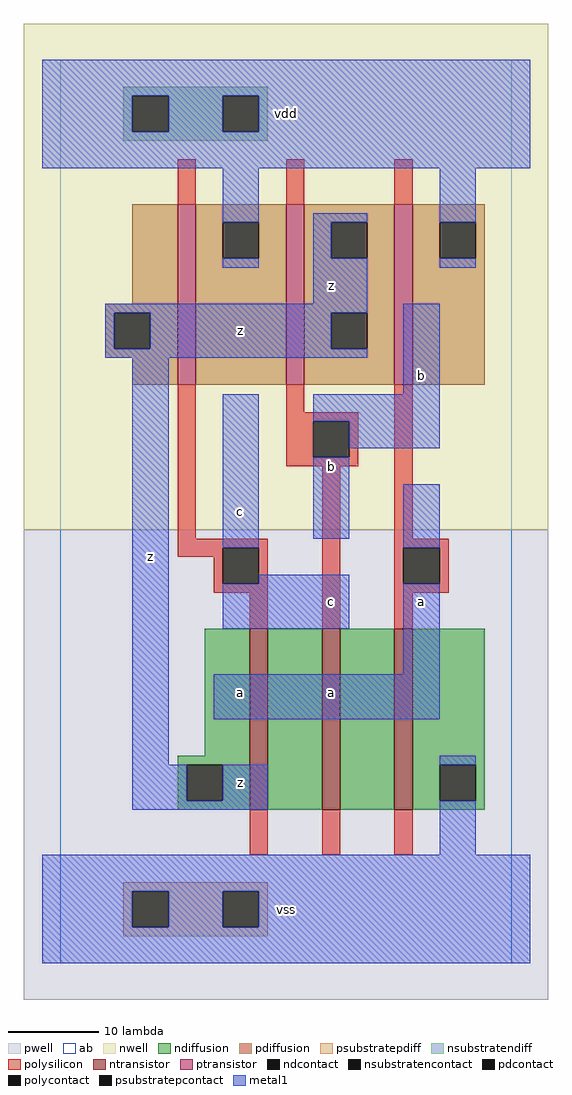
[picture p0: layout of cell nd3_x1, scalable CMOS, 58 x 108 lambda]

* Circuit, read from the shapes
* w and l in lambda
.subckt nd3_x1 a b c vdd vss z
M1 n1 c z vss nfet w=20 l=2
M2 n2 b n1 vss nfet w=20 l=2
M3 vss a n2 vss nfet w=20 l=2
M4 vdd c z vdd pfet w=20 l=2
M5 z b vdd vdd pfet w=20 l=2
M6 vdd a z vdd pfet w=20 l=2
.ends

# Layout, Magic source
magic
tech scmos
<< ab >>
rect 0 0 50 100
<< pwell >>
rect -4 -4 54 48
<< nwell >>
rect -4 48 54 104
<< polysilicon >>
rect 13 84 15 89
rect 25 84 27 89
rect 37 84 39 89
rect 13 47 15 64
rect 25 61 27 64
rect 25 60 33 61
rect 25 56 28 60
rect 32 56 33 60
rect 25 55 33 56
rect 13 46 23 47
rect 13 45 18 46
rect 17 42 18 45
rect 22 42 23 46
rect 17 41 23 42
rect 21 37 23 41
rect 29 37 31 55
rect 37 47 39 64
rect 37 46 43 47
rect 37 42 38 46
rect 42 42 43 46
rect 37 41 43 42
rect 37 37 39 41
rect 21 12 23 17
rect 29 12 31 17
rect 37 12 39 17
<< ndiffusion >>
rect 16 23 21 37
rect 13 22 21 23
rect 13 18 14 22
rect 18 18 21 22
rect 13 17 21 18
rect 23 17 29 37
rect 31 17 37 37
rect 39 22 47 37
rect 39 18 42 22
rect 46 18 47 22
rect 39 17 47 18
<< pdiffusion >>
rect 8 73 13 84
rect 5 72 13 73
rect 5 68 6 72
rect 10 68 13 72
rect 5 67 13 68
rect 8 64 13 67
rect 15 82 25 84
rect 15 78 18 82
rect 22 78 25 82
rect 15 64 25 78
rect 27 82 37 84
rect 27 78 30 82
rect 34 78 37 82
rect 27 72 37 78
rect 27 68 30 72
rect 34 68 37 72
rect 27 64 37 68
rect 39 82 47 84
rect 39 78 42 82
rect 46 78 47 82
rect 39 64 47 78
<< metal1 >>
rect -2 96 52 100
rect -2 92 8 96
rect 12 92 18 96
rect 22 92 52 96
rect -2 88 52 92
rect 18 82 22 88
rect 18 77 22 78
rect 28 82 34 83
rect 28 78 30 82
rect 28 73 34 78
rect 42 82 46 88
rect 42 77 46 78
rect 5 72 34 73
rect 5 68 6 72
rect 10 68 30 72
rect 5 67 34 68
rect 8 22 12 67
rect 38 63 42 73
rect 18 46 22 63
rect 28 60 42 63
rect 32 57 42 60
rect 28 47 32 56
rect 38 46 42 53
rect 22 42 32 43
rect 18 37 32 42
rect 38 32 42 42
rect 17 27 42 32
rect 42 22 46 23
rect 8 18 14 22
rect 18 18 23 22
rect 8 17 23 18
rect 42 12 46 18
rect -2 8 52 12
rect -2 4 8 8
rect 12 4 18 8
rect 22 4 52 8
rect -2 0 52 4
<< ntransistor >>
rect 21 17 23 37
rect 29 17 31 37
rect 37 17 39 37
<< ptransistor >>
rect 13 64 15 84
rect 25 64 27 84
rect 37 64 39 84
<< polycontact >>
rect 28 56 32 60
rect 18 42 22 46
rect 38 42 42 46
<< ndcontact >>
rect 14 18 18 22
rect 42 18 46 22
<< pdcontact >>
rect 6 68 10 72
rect 18 78 22 82
rect 30 78 34 82
rect 30 68 34 72
rect 42 78 46 82
<< psubstratepcontact >>
rect 8 4 12 8
rect 18 4 22 8
<< nsubstratencontact >>
rect 8 92 12 96
rect 18 92 22 96
<< psubstratepdiff >>
rect 7 8 23 9
rect 7 4 8 8
rect 12 4 18 8
rect 22 4 23 8
rect 7 3 23 4
<< nsubstratendiff >>
rect 7 96 23 97
rect 7 92 8 96
rect 12 92 18 96
rect 22 92 23 96
rect 7 91 23 92
<< labels >>
rlabel metal1 20 20 20 20 6 z
rlabel metal1 10 45 10 45 6 z
rlabel metal1 20 30 20 30 6 a
rlabel metal1 20 50 20 50 6 c
rlabel metal1 20 70 20 70 6 z
rlabel metal1 25 6 25 6 6 vss
rlabel metal1 30 40 30 40 6 c
rlabel metal1 30 30 30 30 6 a
rlabel metal1 30 55 30 55 6 b
rlabel metal1 30 75 30 75 6 z
rlabel metal1 25 94 25 94 6 vdd
rlabel metal1 40 40 40 40 6 a
rlabel metal1 40 65 40 65 6 b
<< end >>
